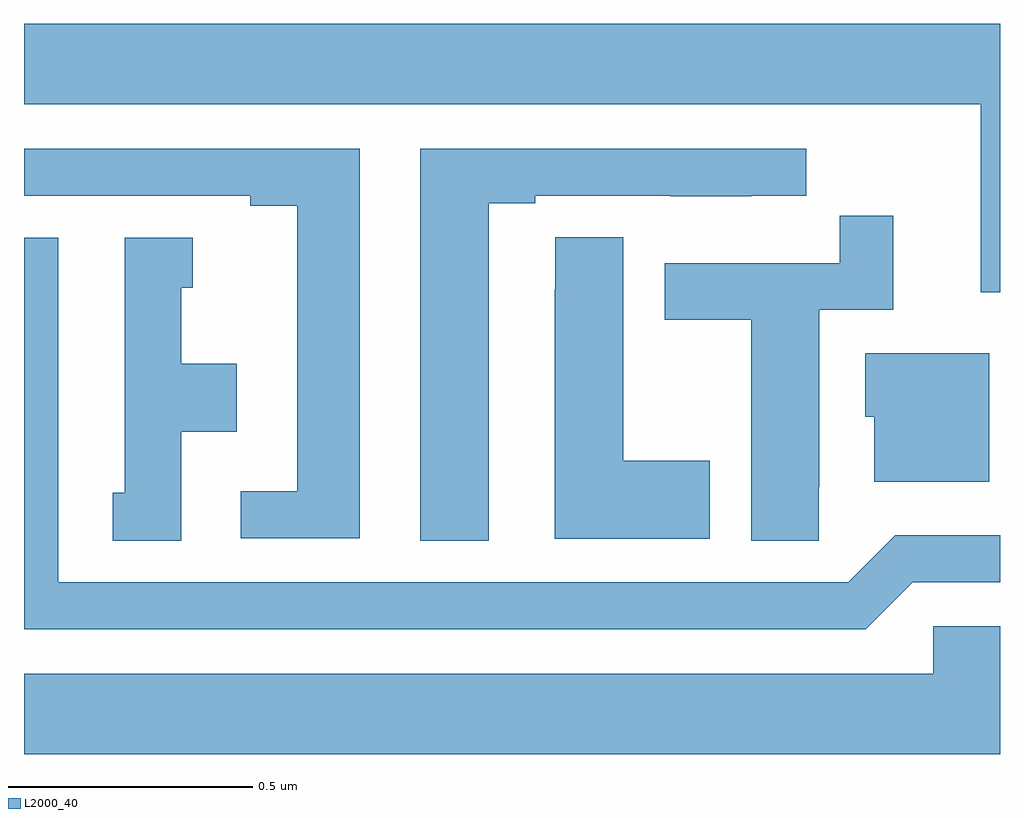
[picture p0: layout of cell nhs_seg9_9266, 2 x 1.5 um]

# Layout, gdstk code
import gdstk
lib = gdstk.Library(unit=1e-6, precision=1e-09)
def P(c, l, *ps):  # polygons
    for p in ps: c.add(gdstk.Polygon(p, *l))
L2000_40 = (2000, 40)

nhs_seg9_9266 = lib.new_cell('nhs_seg9_9266')
P(nhs_seg9_9266, L2000_40, [(230,1179.268),(228,1179.268),(228,1179.104),(229.961,1179.104),(229.961,1178.718),(230,1178.718)],
  [(228.688,1179.012),(228,1179.012),(228,1178.916),(228.464,1178.916),(228.464,1178.896),(228.56,1178.896),(228.56,1178.31),(228.444,1178.31),(228.444,1178.214),(228.688,1178.214)],
  [(228.952,1178.901),(229.048,1178.901),(229.048,1178.916),(229.324,1178.916),(229.324,1178.915),(229.49,1178.915),(229.49,1178.916),(229.603,1178.916),(229.603,1179.012),(228.812,1179.012),(228.812,1178.209),(228.952,1178.209)],
  [(229.629,1178.32),(229.63,1178.32),(229.63,1178.682),(229.781,1178.682),(229.781,1178.875),(229.672,1178.875),(229.672,1178.778),(229.313,1178.778),(229.313,1178.662),(229.49,1178.662),(229.49,1178.209),(229.629,1178.209)],
  [(229.405,1178.373),(229.228,1178.373),(229.228,1178.831),(229.089,1178.831),(229.089,1178.723),(229.088,1178.723),(229.088,1178.213),(229.405,1178.213)],
  [(229.821,1178.124),(230,1178.124),(230,1178.22),(229.785,1178.22),(229.689,1178.124),(228.07,1178.124),(228.07,1178.83),(228,1178.83),(228,1178.028),(229.725,1178.028)],
  [(228.322,1178.432),(228.436,1178.432),(228.436,1178.572),(228.322,1178.572),(228.322,1178.727),(228.346,1178.727),(228.346,1178.83),(228.206,1178.83),(228.206,1178.307),(228.182,1178.307),(228.182,1178.209),(228.322,1178.209)],
  [(229.978,1178.593),(229.724,1178.593),(229.724,1178.463),(229.742,1178.463),(229.742,1178.33),(229.978,1178.33)],
  [(230,1178.034),(229.863,1178.034),(229.863,1177.936),(228,1177.936),(228,1177.772),(230,1177.772)])

lib.write_gds('nhs_seg9_9266.gds')
